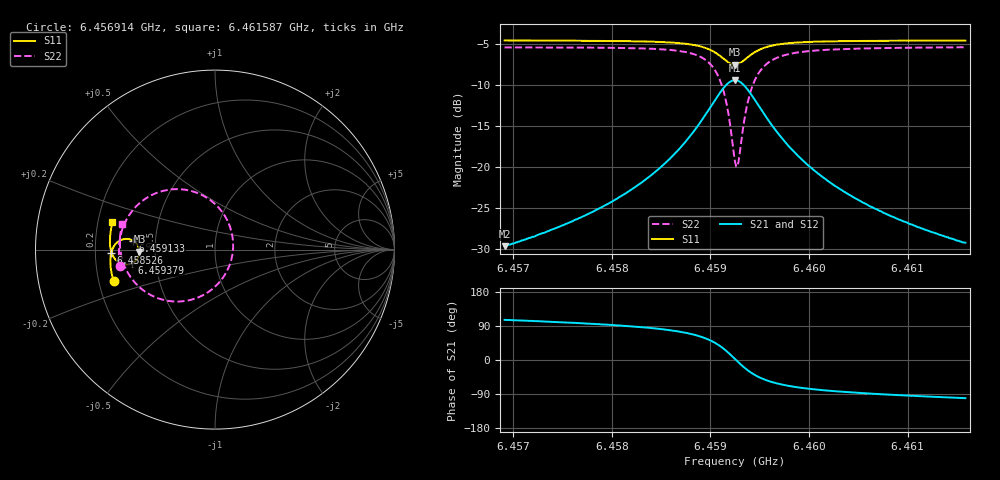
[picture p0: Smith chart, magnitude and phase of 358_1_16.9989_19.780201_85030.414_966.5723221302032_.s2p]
#  HZ  S  RI  R  50.00
! Rohde & Schwarz Vector Network Analyzer
! Rohde-Schwarz,ZNB20-2Port,1311601062101988,3.16
! Created: UTC 3/20/2024, 11:08:06 PM
! freq[Hz]  re:S11  im:S11  re:S21  im:S21  re:S12  im:S12  re:S22  im:S22
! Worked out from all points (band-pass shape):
!   401 points, 6.456914 GHz to 6.461587 GHz, reference 50 ohm
!   highest |S21| = -9.40 dB at 6.45925 GHz (marker M1); lowest = -29.6 dB at 6.456914 GHz (marker M2)
!   |S21| within 3 dB of the highest: 6.459016 GHz to 6.459484 GHz (468.2 kHz wide, 0.00725 % of centre)
!   lowest |S11| = -7.5 dB at 6.45925 GHz (marker M3), VSWR 2.45, Z = 20.4 - j0.584 ohm
!   |S11| at or under -10 dB: nowhere
!   |S22| runs from -19.9 to -5.4 dB; largest |S21 - S12| = 0.013
!   S11 on the Smith chart (normalised r, x): 6.456914 GHz: 0.26, -0.14; 6.458526 GHz: 0.27, -0.01; 6.459133 GHz: 0.37, +0.05; 6.459379 GHz: 0.36, -0.07; 6.461587 GHz: 0.26, +0.12
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6.4569137e9  -0.5652 -0.1772  -0.00904 0.0318  -0.0074 0.0317  -0.5293 -0.0897
6.4576964e9  -0.5799 -0.1091  -0.00595 0.0494  -0.00352 0.0489  -0.5358 0.000255
6.4581053e9  -0.5832 -0.0686  -0.000831 0.0673  0.0025 0.0659  -0.5291 0.0632
6.4584791e9  -0.5797 -0.0247  0.0133 0.0969  0.0171 0.0943  -0.5041 0.1449
6.4585258e9  -0.5785 -0.0183  0.0165 0.1024  0.0205 0.0995  -0.498 0.1577
6.4587361e9  -0.5665 0.0134  0.0422 0.1336  0.0463 0.1289  -0.4503 0.2288
6.458888e9  -0.5456 0.0397  0.0839 0.1636  0.0872 0.1572  -0.3733 0.2925
6.4590398e9  -0.5003 0.0594  0.1741 0.1826  0.1752 0.1754  -0.2088 0.3368
6.4591333e9  -0.4564 0.0498  0.2625 0.1524  0.2628 0.1466  -0.0452 0.2889
6.45918e9  -0.4356 0.0314  0.3056 0.1106  0.3067 0.1054  0.0363 0.2144
6.4592501e9  -0.4208 -0.0118  0.3387 0.0156  0.3421 0.00887  0.101 0.0389
6.4592618e9  -0.4213 -0.0197  0.3387 -0.00173  0.3422 -0.00911  0.1009 0.00598
6.4592852e9  -0.4246 -0.035  0.3335 -0.0357  0.337 -0.0447  0.0904 -0.0584
6.4593319e9  -0.44 -0.0605  0.3057 -0.0947  0.3077 -0.1063  0.0349 -0.1694
6.4593786e9  -0.4615 -0.0764  0.2645 -0.1352  0.2638 -0.148  -0.0478 -0.2433
6.4594721e9  -0.504 -0.0831  0.1815 -0.1664  0.1756 -0.1774  -0.2127 -0.2896
6.4596239e9  -0.5473 -0.0628  0.0952 -0.1531  0.0871 -0.1593  -0.3773 -0.2422
6.4597875e9  -0.5686 -0.0352  0.051 -0.1261  0.0437 -0.1287  -0.4566 -0.1716
6.4600328e9  -0.5811 0.000226  0.0221 -0.0954  0.0165 -0.0958  -0.5042 -0.0908
6.4603716e9  -0.5855 0.0402  0.00656 -0.0697  0.00268 -0.0693  -0.5252 -0.0146
6.4608155e9  -0.5836 0.0846  -0.00136 -0.0509  -0.00411 -0.05  -0.5299 0.0553
6.4615865e9  -0.5712 0.1526  -0.00644 -0.034  -0.00809 -0.033  -0.5185 0.1451
